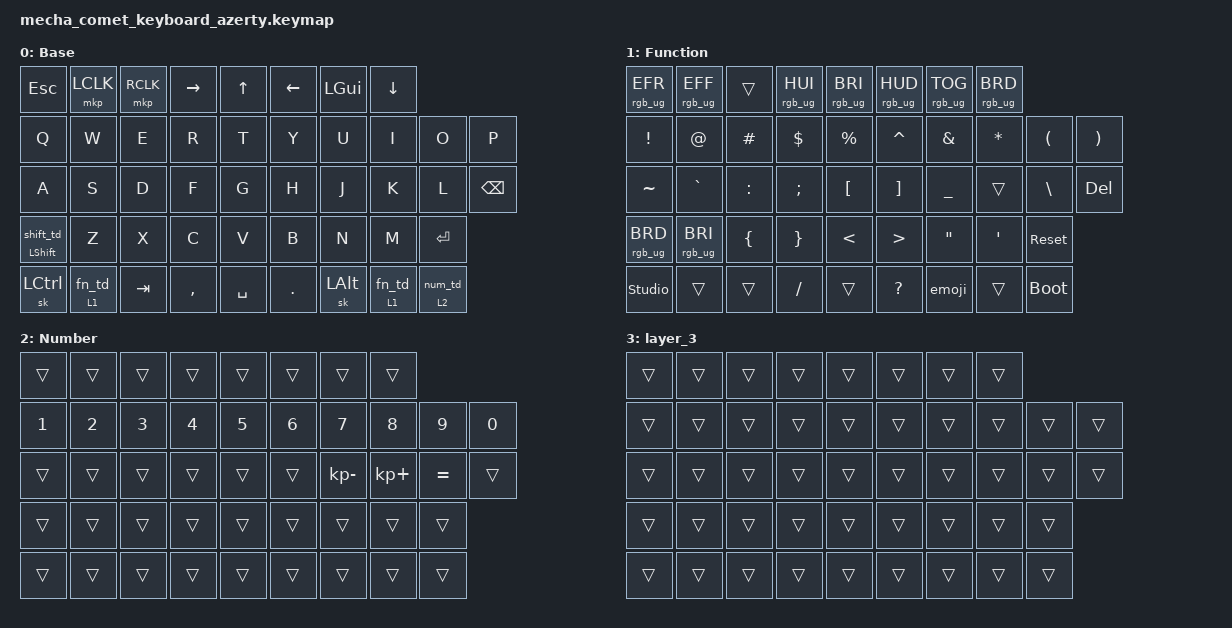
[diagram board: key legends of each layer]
/*
 * Copyright (c) 2026 Mecha Systems
 *
 * SPDX-License-Identifier: BSD-3-Clause
 */

/* TODO: AZERTY layout, currently a copy of the QWERTY keymap. */

#include "common/omit.h"
#include <behaviors.dtsi>
#include <dt-bindings/zmk/keys.h>
#include <dt-bindings/zmk/pointing.h>
#include <dt-bindings/zmk/rgb.h>

/ {
    behaviors {
        fn_td: fn_td {
            compatible = "zmk,behavior-tap-dance";
            display-name = "Function Tap Dance";
            #binding-cells = <0>;
            bindings = <&sl 1>, <&tog 1>;

            tapping-term-ms = <300>;
        };

        fn_key: fn_key {
            compatible = "zmk,behavior-hold-tap";
            display-name = "Function Key";
            bindings = <&mo>, <&fn_td>;

            #binding-cells = <2>;
            tapping-term-ms = <200>;
            flavor = "balanced";
        };

        num_td: num_td {
            compatible = "zmk,behavior-tap-dance";
            display-name = "Number Tap Dance";
            #binding-cells = <0>;
            tapping-term-ms = <300>;
            bindings = <&sl 2>, <&tog 2>;
        };

        num_key: num_key {
            compatible = "zmk,behavior-hold-tap";
            display-name = "Number Key";
            bindings = <&mo>, <&num_td>;

            #binding-cells = <2>;
            tapping-term-ms = <200>;
            flavor = "balanced";
        };

        shift_td: shift_td {
            compatible = "zmk,behavior-tap-dance";
            display-name = "Shift Tap Dance";
            #binding-cells = <0>;
            bindings = <&kp LEFT_SHIFT>, <&caps_word>;

            tapping-term-ms = <300>;
        };

        shift_key: shift_key {
            compatible = "zmk,behavior-hold-tap";
            display-name = "Shift Key";
            bindings = <&kp>, <&shift_td>;

            #binding-cells = <2>;
            tapping-term-ms = <200>;
            flavor = "balanced";
        };
    };

    combos {
        compatible = "zmk,combos";

        combo_middle_click {
            bindings = <&mkp MCLK>;
            key-positions = <1 2>;
            timeout-ms = <50>;
            layers = <0>;
        };
    };

    macros {
        emoji: emoji {
            compatible = "zmk,behavior-macro";
            #binding-cells = <0>;
            bindings = <&macro_press &kp LGUI>,
                       <&macro_tap &kp PERIOD>,
                       <&macro_release &kp LGUI>,
                       <&macro_tap &kp SPACE>;
            display-name = "Emoji";
            wait-ms = <30>;
        };
    };

    /* dts-format off */

    keymap {
        compatible = "zmk,keymap";

        base_layer {
            display-name = "Base";
            bindings = <
&kp ESC                  &mkp LCLK    &mkp RCLK  &kp RIGHT  &kp UP     &kp LEFT  &kp LGUI    &kp DOWN
&kp Q                    &kp W        &kp E      &kp R      &kp T      &kp Y     &kp U       &kp I        &kp O         &kp P
&kp A                    &kp S        &kp D      &kp F      &kp G      &kp H     &kp J       &kp K        &kp L         &kp BSPC
&shift_key LEFT_SHIFT 0  &kp Z        &kp X      &kp C      &kp V      &kp B     &kp N       &kp M        &kp RETURN
&sk LEFT_CONTROL         &fn_key 1 0  &kp TAB    &kp COMMA  &kp SPACE  &kp DOT   &sk LALT    &fn_key 1 0  &num_key 2 0
            >;
        };

        function_layer {
            display-name = "Function";
            bindings = <
&rgb_ug RGB_EFR  &rgb_ug RGB_EFF  &trans          &rgb_ug RGB_HUI  &rgb_ug RGB_BRI   &rgb_ug RGB_HUD    &rgb_ug RGB_TOG    &rgb_ug RGB_BRD
&kp EXCLAMATION  &kp AT_SIGN      &kp HASH        &kp DOLLAR       &kp PERCENT       &kp CARET          &kp AMPERSAND      &kp ASTERISK      &kp LEFT_PARENTHESIS  &kp RIGHT_PARENTHESIS
&kp TILDE        &kp GRAVE        &kp COLON       &kp SEMICOLON    &kp LEFT_BRACKET  &kp RIGHT_BRACKET  &kp UNDERSCORE     &trans            &kp BACKSLASH         &kp DELETE
&rgb_ug RGB_BRD  &rgb_ug RGB_BRI  &kp LEFT_BRACE  &kp RIGHT_BRACE  &kp LESS_THAN     &kp GREATER_THAN   &kp DOUBLE_QUOTES  &kp SINGLE_QUOTE  &sys_reset
&studio_unlock   &trans           &trans          &kp SLASH        &trans            &kp QUESTION       &emoji             &trans            &bootloader
            >;
        };

        number_layer {
            display-name = "Number";
            bindings = <
&trans  &trans  &trans  &trans  &trans  &trans  &trans        &trans
&kp N1  &kp N2  &kp N3  &kp N4  &kp N5  &kp N6  &kp N7        &kp N8       &kp N9     &kp N0
&trans  &trans  &trans  &trans  &trans  &trans  &kp KP_MINUS  &kp KP_PLUS  &kp EQUAL  &trans
&trans  &trans  &trans  &trans  &trans  &trans  &trans        &trans       &trans
&trans  &trans  &trans  &trans  &trans  &trans  &trans        &trans       &trans
            >;
        };

        layer_3 {
            bindings = <
&trans  &trans  &trans  &trans  &trans  &trans  &trans  &trans
&trans  &trans  &trans  &trans  &trans  &trans  &trans  &trans  &trans  &trans
&trans  &trans  &trans  &trans  &trans  &trans  &trans  &trans  &trans  &trans
&trans  &trans  &trans  &trans  &trans  &trans  &trans  &trans  &trans
&trans  &trans  &trans  &trans  &trans  &trans  &trans  &trans  &trans
            >;
        };
    };
};

/* dts-format on */

&ext_power {
    status = "disabled";
};

&sl {
    release-after-ms = <5000>;
};
